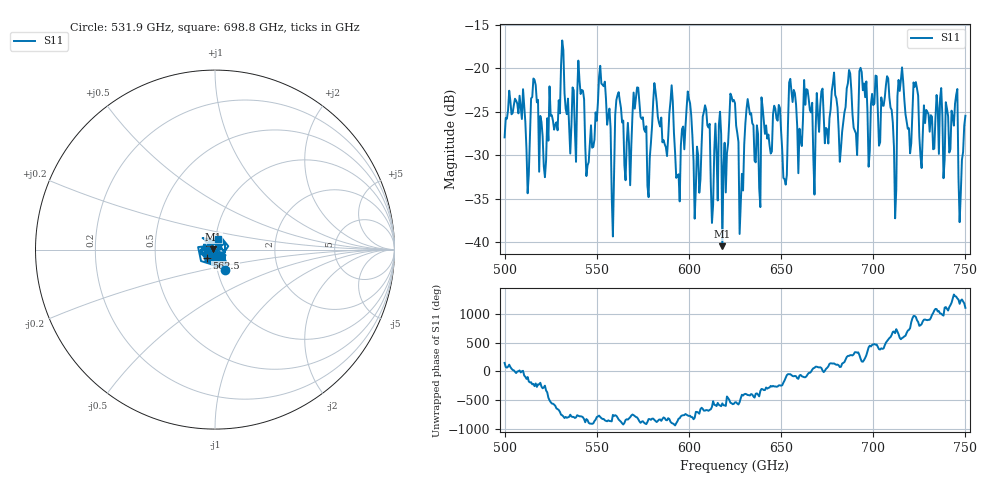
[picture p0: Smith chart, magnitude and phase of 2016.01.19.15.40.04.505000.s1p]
!Created with skrf (http://scikit-rf.org).
# GHz S RI R 50.0
!freq ReS11 ImS11
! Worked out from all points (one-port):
!   401 points, 500 GHz to 750 GHz, reference 50 ohm
!   lowest |S11| = -40.5 dB at 618.1 GHz (marker M1), VSWR 1.02, Z = 49.1 + j0.267 ohm
!   |S11| at or under -10 dB: start of sweep to end of sweep
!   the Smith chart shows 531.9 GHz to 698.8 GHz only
!   S11 on the Smith chart (normalised r, x): 531.9 GHz: 1.09, -0.25; 562.5 GHz: 0.91, -0.08; 698.8 GHz: 1.03, +0.12
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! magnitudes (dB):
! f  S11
! 500 GHz  -28.0
! 512.5 GHz  -34.4
! 515.6 GHz  -21.2
! 522.5 GHz  -30.6
! 531.2 GHz  -16.8
! 531.9 GHz  -17.9
! 545 GHz  -31.2
! 552.5 GHz  -21.8
! 558.1 GHz  -34.8
! 562.5 GHz  -23.7
! 578.1 GHz  -34.8
! 590.6 GHz  -22.0
! 593.8 GHz  -32.4
! 600 GHz  -23.5
! 604.4 GHz  -29.0
! 608.8 GHz  -24.3
! 618.1 GHz  -40.5
! 625 GHz  -24.0
! 628.8 GHz  -32.2
! 631.9 GHz  -23.5
! 651.9 GHz  -32.8
! 656.2 GHz  -23.9
! 687.5 GHz  -20.6
! 698.8 GHz  -24.1
! 718.8 GHz  -27.0
! 744.4 GHz  -24.1
! 747.5 GHz  -34.4
! 750 GHz  -25.5
